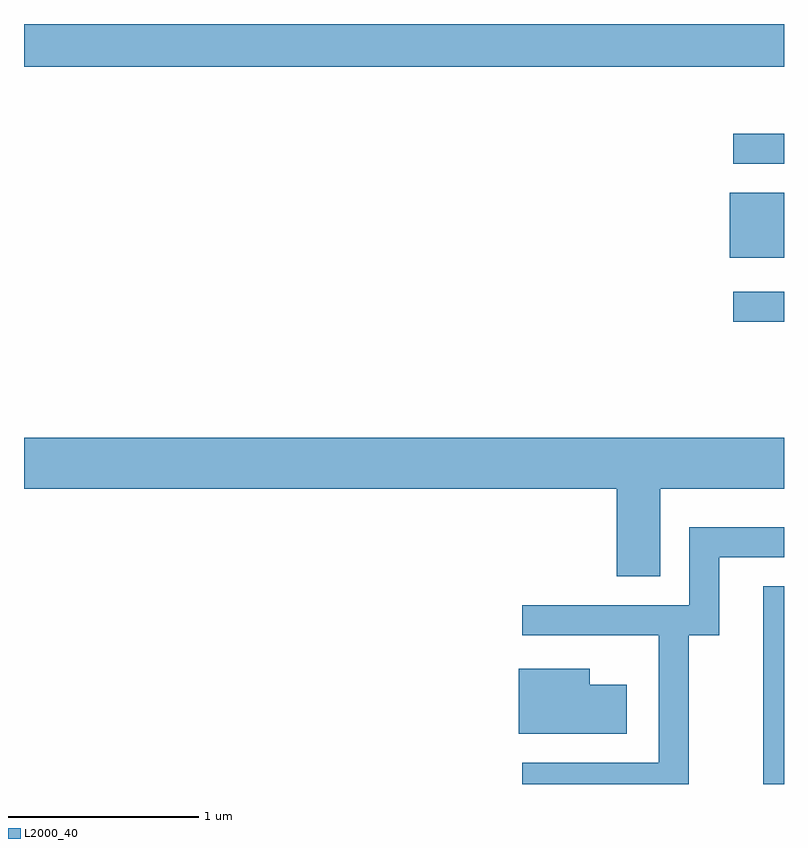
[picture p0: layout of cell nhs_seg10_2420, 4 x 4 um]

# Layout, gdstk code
import gdstk
lib = gdstk.Library(unit=1e-6, precision=1e-09)
def R(c, l, rs):  # rectangles x0, y0, x1, y1
    for r in rs: c.add(gdstk.rectangle(r[:2], r[2:], *l))
def P(c, l, *ps):  # polygons
    for p in ps: c.add(gdstk.Polygon(p, *l))
L2000_40 = (2000, 40)

nhs_seg10_2420 = lib.new_cell('nhs_seg10_2420')
R(nhs_seg10_2420, L2000_40, [(259.501,2174.522,259.611,2175.564), (259.343,2176.956,259.611,2177.114), (259.326,2177.291,259.611,2177.634), (259.343,2177.786,259.611,2177.944), (255.611,2178.296,259.611,2178.522)])
P(nhs_seg10_2420, L2000_40, [(258.959,2176.076),(259.611,2176.076),(259.611,2176.344),(255.611,2176.344),(255.611,2176.076),(258.731,2176.076),(258.731,2175.616),(258.959,2175.616)],
  [(259.109,2175.306),(259.269,2175.306),(259.269,2175.716),(259.611,2175.716),(259.611,2175.874),(259.111,2175.874),(259.111,2175.464),(258.233,2175.464),(258.233,2175.306),(258.951,2175.306),(258.951,2174.634),(258.233,2174.634),(258.233,2174.522),(259.109,2174.522)],
  [(258.784,2175.044),(258.589,2175.044),(258.589,2175.129),(258.216,2175.129),(258.216,2174.786),(258.784,2174.786)])

lib.write_gds('nhs_seg10_2420.gds')
